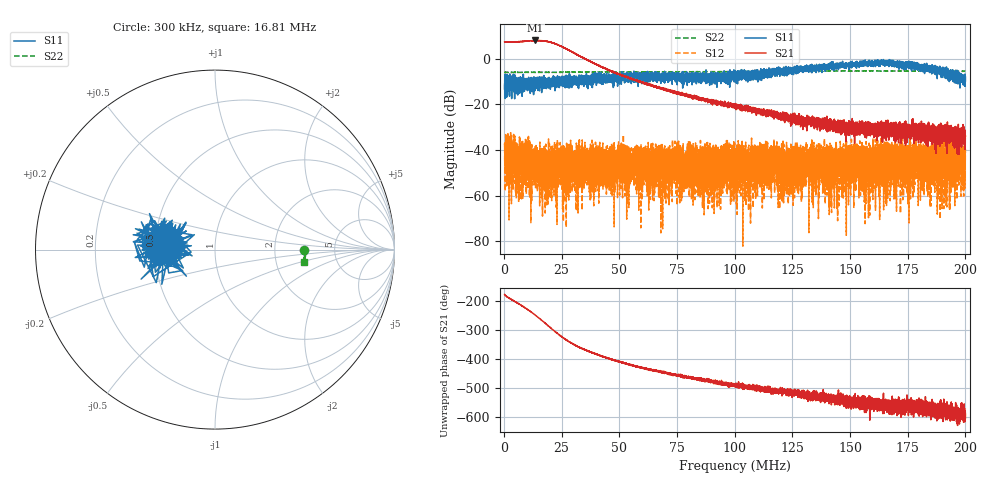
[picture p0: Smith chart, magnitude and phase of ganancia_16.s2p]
# Hz S DB R 50
! CMT, M5065, 19127446, 24.2.4/2
! Date: 10/29/2024 1:11:00 PM
! Data: Format (Calibration Info)
! Freq	S11:dB/Ang(F2)	S21:dB/Ang(F2)	S12:dB/Ang(F2)	S22:dB/Ang(F2)
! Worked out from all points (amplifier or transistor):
!   9000 points, 300 kHz to 200 MHz, reference 50 ohm
!   highest |S21| = 8.0 dB at 13.61 MHz (marker M1)
!   |S21| within 3 dB of that: start of sweep to 25.65 MHz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
!   unconditionally stable (mu >= 1): start of sweep to end of sweep
!   at 33.59 MHz: K = 24.04, MAG = 2.6 dB, |S12| = -38.2 dB
!   at 100.2 MHz: K = 746.09, MAG = -18.1 dB, |S12| = -47.8 dB
!   at 200 MHz: K = 1502.85, MAG = -31.9 dB, |S12| = -39.6 dB
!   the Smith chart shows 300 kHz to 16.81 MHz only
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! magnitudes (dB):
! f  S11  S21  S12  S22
! 300 kHz  -11.2  7.3  -38.8  -6.1
! 8.688 MHz  -13.8  7.5  -54.9  -5.9
! 13.61 MHz  -11.8  8.0  -50.2  -6.0
! 21.6 MHz  -8.2  6.8  -43.3  -6.0
! 33.59 MHz  -8.5  0.7  -38.2  -5.9
! 66.87 MHz  -8.9  -12.4  -53.8  -5.8
! 78.84 MHz  -7.8  -16.1  -54.1  -5.7
! 82.36 MHz  -7.8  -16.8  -39.5  -5.7
! 89.31 MHz  -9.8  -19.1  -48.4  -5.7
! 95.21 MHz  -5.6  -20.1  -50.1  -5.7
! 100.2 MHz  -6.7  -20.5  -47.8  -5.7
! 133.4 MHz  -6.2  -29.2  -38.3  -5.4
! 139 MHz  -4.3  -29.6  -44.5  -5.4
! 150 MHz  -3.2  -32.2  -54.8  -5.4
! 157.2 MHz  -2.6  -31.1  -57.4  -5.3
! 160.7 MHz  -1.6  -30.2  -43.3  -5.4
! 166.7 MHz  -1.0  -28.6  -40.3  -5.4
! 176.4 MHz  -2.2  -29.7  -44.7  -5.4
! 178.4 MHz  -3.0  -31.0  -51.5  -5.4
! 189.7 MHz  -7.9  -31.1  -57.0  -5.5
! 198.8 MHz  -9.5  -32.9  -43.1  -5.5
! 200 MHz  -9.8  -33.8  -39.6  -5.5
